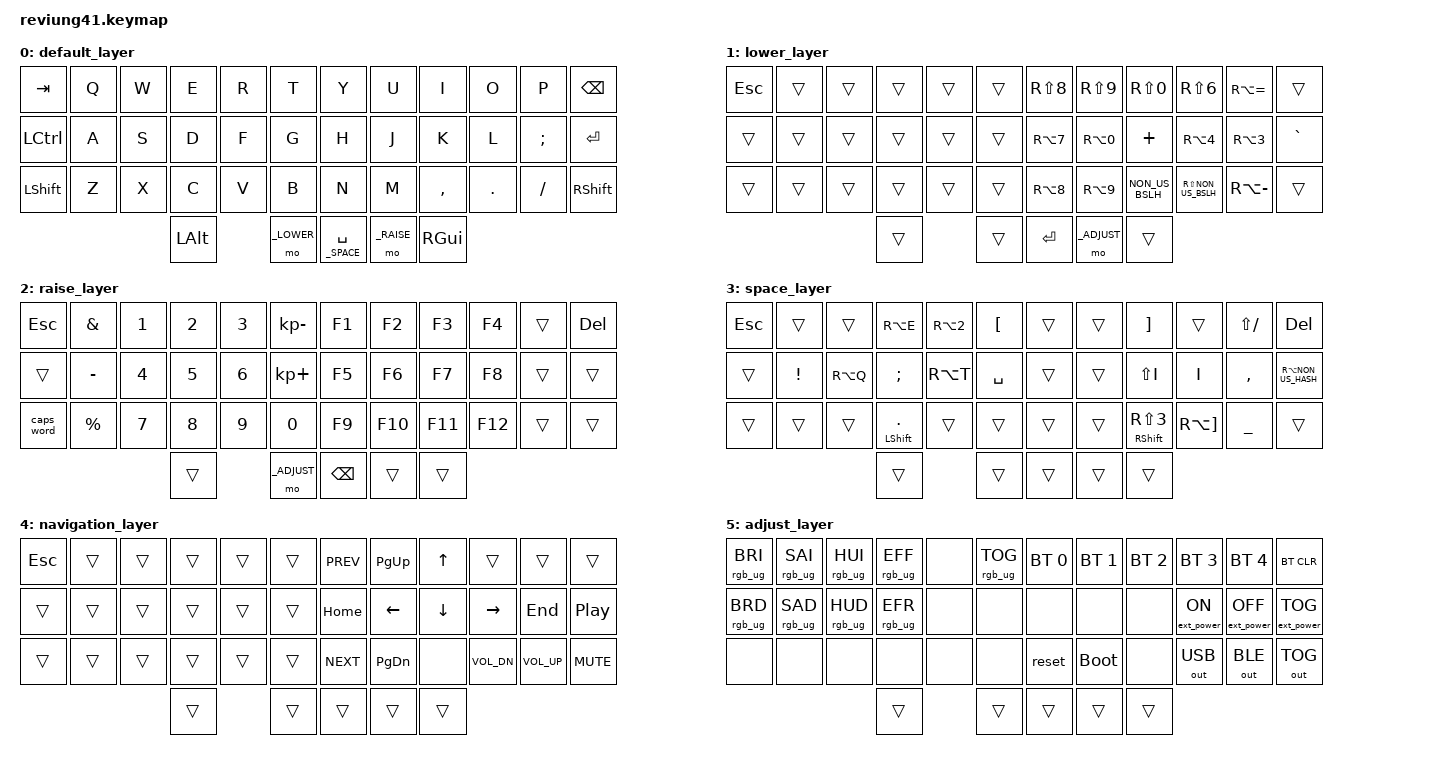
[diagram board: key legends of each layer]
// !!!!!!   Turkish Q Layout  !!!!!!

#include <behaviors.dtsi>
#include <dt-bindings/zmk/keys.h>
#include <dt-bindings/zmk/bt.h>
#include <dt-bindings/zmk/rgb.h>
#include <dt-bindings/zmk/outputs.h>
#include <dt-bindings/zmk/ext_power.h>
#include <dt-bindings/led/led.h>


// Layers
#define _QWERTY      0
#define _LOWER       1
#define _RAISE       2
#define _SPACE       3
#define _NAVIGATION  4
#define _ADJUST      5



&spi1 {
	compatible = "nordic,nrf-spim";
	status = "okay";
	mosi-pin = <6>;
	// Unused pins, needed for SPI definition, but not used by the ws2812 driver itself.
	sck-pin = <5>;
	miso-pin = <7>;

	led_strip: ws2812@0 {
		compatible = "worldsemi,ws2812-spi";
		label = "WS2812";

		/* SPI */
		reg = <0>; /* ignored, but necessary for SPI bindings */
		spi-max-frequency = <4000000>;

		/* WS2812 */
		chain-length = <11>; /* arbitrary; change at will */
		spi-one-frame = <0x70>;
		spi-zero-frame = <0x40>;
		color-mapping = <LED_COLOR_ID_GREEN LED_COLOR_ID_RED LED_COLOR_ID_BLUE>;
	};
};

/ {
   chosen {
      zmk,underglow = &led_strip;
   };
};

// &caps_word {
//     continue-list = <UNDERSCORE MINUS>;
// };

/ {
  keymap {
    compatible = "zmk,keymap";

    // QWERTY LAYER (DEFAUT)
//       │  TAB │  Q   │  W   │  E   │  R   │  T   │            │  Y   │  U   │  I   │  O   │   P  │ BSPC │
//       ├──────┼──────┼──────┼──────┼──────┼──────┤            ├──────┼──────┼──────┼──────┼──────┼──────┤
//       │ CTRL │  A   │  S   │  D   │  F   │  G   │            │  H   │  J   │  K   │  L   │  ;   │ ENT  │
//       ├──────┼──────┼──────┼──────┼──────┼──────┤            ├──────┼──────┼──────┼──────┼──────┼──────┤
//       │SFT_CL│  Z   │  X   │  C   │  V   │  B   │            │  N   │  M   │  ,   │  .   │  /   │ SHFT │
    //                             | ALT  | Lower_up |  Space_spc  | Raise_down | WIN  |
    //                                +-------------/             \--------------+
    default_layer {
    bindings = <
    &kp TAB   &kp Q &kp W &kp E &kp R &kp T   &kp Y &kp U  &kp I     &kp O   &kp P    &kp BSPC
   &kp LCTRL &kp A &kp S &kp D &kp F &kp G   &kp H &kp J  &kp K     &kp L   &kp SEMI &kp RET
   &kp LSHFT &kp Z &kp X &kp C &kp V &kp B   &kp N &kp M  &kp COMMA &kp DOT &kp FSLH &kp RSHFT
                                                            &kp LALT  &mo _LOWER &lt _SPACE SPACE  &mo _RAISE  &kp RIGHT_GUI
                    >;
            };
    // LOWER LAYER
    // ,---------------------------------------------------+         +------------------------------------------.
    // |  ESC  |       |       |         |       |         |         |  (   |   )  |   =  |   &  |   |  |       |
    // |-------+-------+-------+---------+-------+---------+         +------+------+------+------+------+-------|
    // |       |       |       |         |       |         |         |  {   |   }  |   _  |   $  |   #  |   "   |
    // |-------+-------+-------+---------+-------+---------+         +------+------+------+------+------+-------|
    // |       |       |       |         |       |         |         |  [   |   ]  |   <  |   >  |   \  |       |
    // |-------+-------+-------+---------+-------+---------+         +------+------+------+------+------+-------|
    //                                   | ____ | ____ |      ENTER     | ____  | ____ |
    //                                   +-------------/                \--------------+
    lower_layer {
    bindings = <
    &kp ESC  &trans  &trans  &trans  &trans  &trans                &kp RS(N8)  &kp RS(N9) &kp RS(N0)        &kp RS(N6)           &kp RA(EQUAL)  &trans
    &trans   &trans  &trans  &trans  &trans  &trans                &kp RA(N7)  &kp RA(N0) &kp PLUS          &kp RA(N4)           &kp RA(N3)     &kp GRAVE
    &trans   &trans  &trans  &trans  &trans  &trans                &kp RA(N8)  &kp RA(N9) &kp NON_US_BSLH   &kp RS(NON_US_BSLH)  &kp RA(MINUS)  &trans
                               &trans      &trans       &kp RET       &mo _ADJUST       &trans
                    >;
            };

    // RAISE LAYER
    // ,-----------------------------------------------+         +------------------------------------------.
    // |  ESC  |   /  |   1   |    2   |   3   |   -   |         |  F1  |  F2  |  F3  |  F4  |      |       |
    // |-------+------+-------+--------+-------+-------+         +------+------+------+------+------+-------|
    // |       |   *  |   4   |    5   |   6   |   +   |         |  F5  |  F6  |  F7  |  F8  |      |       |
    // |-------+------+-------+--------+-------+-------+         +------+------+------+------+------+-------|
    // |cps_wrd|   %  |   7   |    8   |   9   |   0   |         |  F9  |  F10 |  F11  | F12 |      |       |
    // |-------+------+-------+--------+-------+-------+         +------+------+------+------+------+-------|
    //                                | ____ | ____ |     BSPC     | ____  | ____ |
    //                                +-------------/              \--------------+
    raise_layer {
    bindings = <
    &kp ESC      &kp AMPS    &kp N1  &kp N2  &kp N3  &kp KP_MINUS        &kp F1  &kp F2    &kp F3   &kp F4   &trans   &kp DEL
    &trans       &kp MINUS   &kp N4  &kp N5  &kp N6  &kp KP_PLUS         &kp F5  &kp F6    &kp F7   &kp F8   &trans   &trans
    &caps_word   &kp PRCNT   &kp N7  &kp N8  &kp N9  &kp N0              &kp F9  &kp F10   &kp F11  &kp F12  &trans   &trans
                                 &trans      &mo _ADJUST       &kp BSPC        &trans      &trans
                    >;
            };

    // SPACE LAYER
    // ,-------------------------------------------------- -+         +------------------------------------------.
    // |   ESC  |        |       |   €     |    £  |   Ğ    |         |      |      |   Ü  |      |  :   |  DEL  |
    // |--------+--------+-------+---------+-------+--------+         +------+------+------+------+------+-------|
    // |        |    !   |   @   |    Ş    |   ₺   | SPACE  |         |      |      | S(ı) |   I  |  Ö   |   `   |
    // |--------+--------+-------+---------+-------+--------+         +------+------+------+------+------+-------|
    // |        |        |       |    Ç    |       |        |         |      |      |   ^  |   ~  |  ?   |       |
    // |--------+--------+-------+---------+-------+--------+         +------+------+------+------+------+-------|
    //                                     | ____ | ____ |     _______      | ____  | ____ |
    //                                     +-------------/                \--------------+

    space_layer {
    bindings = <
    &kp ESC  &trans    &trans        &kp RA(E)          &kp  RA(N2)  &kp LBKT            &trans   &trans   &kp RBKT           &trans         &kp LS(SLASH)   &kp DEL
    &trans   &kp EXCL  &kp RA(Q)     &kp SEMI           &kp  RA(T)   &kp SPACE           &trans   &trans   &kp LS(I)          &kp I          &kp COMMA       &kp RA(NON_US_HASH)
    &trans   &trans    &trans        &mt LSHFT  DOT     &trans       &trans              &trans   &trans   &mt RSHFT RS(N3)   &kp RA(RBKT)   &kp UNDER       &trans
                                                        &trans  &trans    &trans    &trans     &trans
                    >;
            };

    // NAVIGATION LAYER
    // ,---------------------------------------------------+         +------------------------------------------.
    // |       |       |       |         |       |         |         |C_PREV| PGUP |  UP  |      |      |       |
    // |-------+-------+-------+---------+-------+---------+         +------+------+------+------+------+-------|
    // |       |       |       |         |NAVI_T |         |         | HOME | LEFT | DOWN | RGHT | END  | MPLY  |
    // |-------+-------+-------+---------+-------+---------+         +------+------+------+------+------+-------|
    // |       |       |       |         |       |         |         |C_NEXT|PGDOWN|      |VLDOWN| VLUP | MUTE  |
    // |-------+-------+-------+---------+-------+---------+         +------+------+------+------+------+-------|
    //                                    | ____ | ____ |                | ____  | ____ |
    //                                    +-------------/                \--------------+

    navigation_layer {
    bindings = <
    &kp ESC  &trans  &trans  &trans  &trans  &trans            &kp C_PREV  &kp PG_UP   &kp UP     &trans         &trans         &trans
    &trans   &trans  &trans  &trans  &trans  &trans            &kp HOME    &kp LEFT    &kp DOWN   &kp RIGHT      &kp END        &kp C_PLAY_PAUSE
    &trans   &trans  &trans  &trans  &trans  &trans            &kp C_NEXT  &kp PG_DN   &none      &kp C_VOL_DN   &kp C_VOL_UP   &kp C_MUTE
                                    &trans  &trans    &trans    &trans     &trans
                    >;
            };

    // ADJUST LAYER
    // ,-------------------------------------------------------- -+         +-----------------------------------------.
    // | RGB BRI+ | RGB SAT+ | RGB HUE+ | RGB ANI+ |    | RGB TOG |         |  BT1  | BT2 | BT3 | BT4 | BT5  | BT CLR |
    // |----------+----------+----------+----------+----+---------+         +--- ---+-----+-----+-----+------+-- -----|
    // | RGB BRI- | RGB SAT- | RGB HUE- | RGB ANI- |    |         |         |       |     |     |EP_ON|EP_OFF| EP_TOG |
    // |----------+----------+----------+----------+----+---------+         +-------+-----+-----+-----+------+--------|
    // |          |          |          |          |    |         |         | RESET |BOOTL|     |O_USB|O_BLE |OUT_TOG |
    // |----------+----------+---------+-----------+----+---------+         +-------+-----+-----+-----+------+--------|
    //                                          | ____ | ____ |     _______      | ____  | ____ |
    //                                           +-------------/                \--------------+

    adjust_layer {
    bindings = <
    &rgb_ug RGB_BRI &rgb_ug RGB_SAI &rgb_ug RGB_HUI &rgb_ug RGB_EFF &none &rgb_ug RGB_TOG              &bt BT_SEL 0 &bt BT_SEL 1  &bt BT_SEL 2 &bt BT_SEL 3       &bt BT_SEL 4        &bt BT_CLR
    &rgb_ug RGB_BRD &rgb_ug RGB_SAD &rgb_ug RGB_HUD &rgb_ug RGB_EFR &none &none                        &none        &none         &none        &ext_power EP_ON   &ext_power EP_OFF   &ext_power EP_TOG
    &none           &none           &none           &none           &none &none                        &reset       &bootloader   &none        &out OUT_USB       &out OUT_BLE        &out OUT_TOG
                                                                  &trans      &trans       &trans        &trans      &trans
                    >;
            };
        };
};                                                    &trans      &
